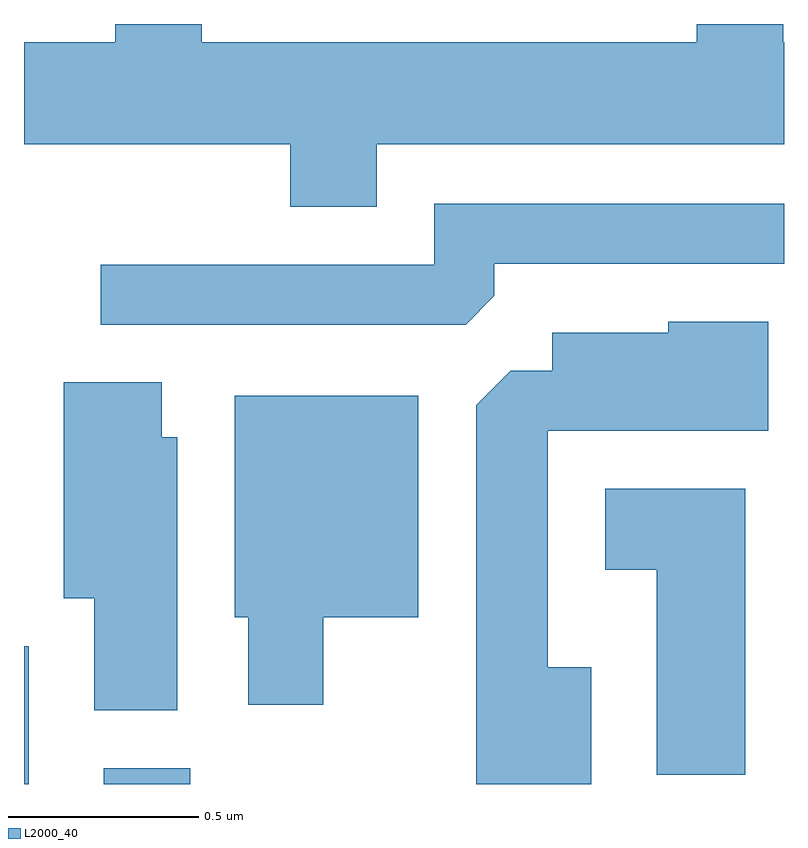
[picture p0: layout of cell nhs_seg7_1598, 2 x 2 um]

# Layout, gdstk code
import gdstk
lib = gdstk.Library(unit=1e-6, precision=1e-09)
def R(c, l, rs):  # rectangles x0, y0, x1, y1
    for r in rs: c.add(gdstk.rectangle(r[:2], r[2:], *l))
def P(c, l, *ps):  # polygons
    for p in ps: c.add(gdstk.Polygon(p, *l))
L2000_40 = (2000, 40)

nhs_seg7_1598 = lib.new_cell('nhs_seg7_1598')
R(nhs_seg7_1598, L2000_40, [(196.611,1759.252,196.624,1759.614), (196.821,1759.252,197.049,1759.294)])
P(nhs_seg7_1598, L2000_40, [(197.539,1760.936),(198.611,1760.936),(198.611,1761.204),(198.609,1761.204),(198.609,1761.252),(198.381,1761.252),(198.381,1761.204),(197.079,1761.204),(197.079,1761.252),(196.851,1761.252),(196.851,1761.204),(196.611,1761.204),(196.611,1760.936),(197.311,1760.936),(197.311,1760.771),(197.539,1760.771)],
  [(197.849,1760.537),(197.849,1760.621),(198.611,1760.621),(198.611,1760.779),(197.691,1760.779),(197.691,1760.619),(196.813,1760.619),(196.813,1760.461),(197.774,1760.461)],
  [(198.104,1759.559),(197.989,1759.559),(197.989,1760.181),(198.569,1760.181),(198.569,1760.469),(198.306,1760.469),(198.306,1760.439),(198.001,1760.439),(198.001,1760.339),(197.892,1760.339),(197.801,1760.249),(197.801,1759.252),(198.104,1759.252)],
  [(197.014,1760.164),(196.974,1760.164),(196.974,1760.309),(196.716,1760.309),(196.716,1759.741),(196.796,1759.741),(196.796,1759.446),(197.014,1759.446)],
  [(197.399,1759.691),(197.649,1759.691),(197.649,1760.274),(197.166,1760.274),(197.166,1759.691),(197.201,1759.691),(197.201,1759.461),(197.399,1759.461)],
  [(198.509,1760.029),(198.141,1760.029),(198.141,1759.816),(198.276,1759.816),(198.276,1759.276),(198.509,1759.276)])

lib.write_gds('nhs_seg7_1598.gds')
